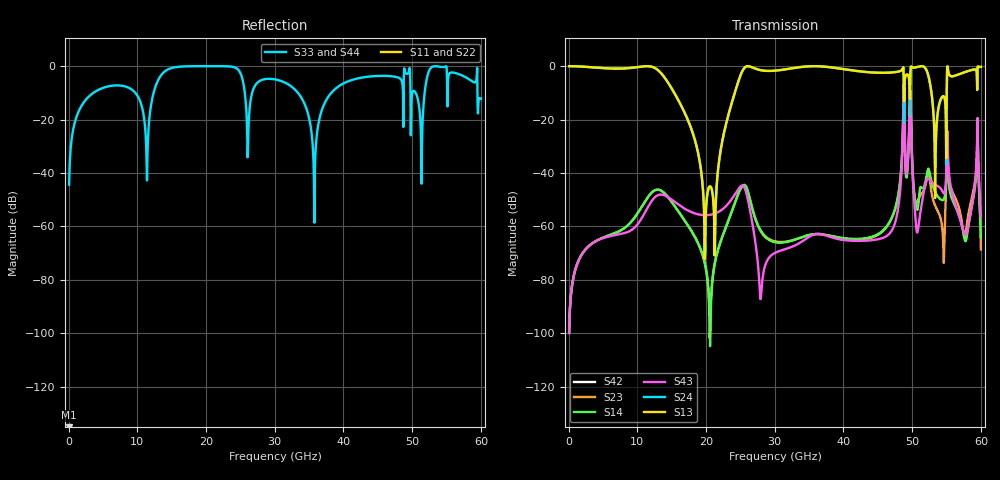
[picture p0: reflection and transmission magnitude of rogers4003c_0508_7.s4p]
! TOUCHSTONE file generated by CST MICROWAVE STUDIO
! Date and time: Wed Apr 16 11:32:53 2025
! Project name: LOSSLESS_rogers4003c_air_gapped_wideband_balanced.cst
! Parameters = {h=4; lambda=10; period=5; phi=0; theta=0; thickness=0.508; w_mesh_1=2; w_mesh_2=2; w_patch_1=1.6; w_patch_2=1.6}
! Header version: 2018
! Port assignment regex: !\s*Touchstone port\s*([0-9]+)\s*=\s*(CST MWS port|CST DS port)\s*([0-9]+|Zmin|Zmax)\s*\(\"(.*)\"\)(\s*mode\s*([0-9]+))?.*
! Touchstone port assignment:
! Touchstone port 1 = CST MWS port Zmin ("") mode 1
! Touchstone port 2 = CST MWS port Zmin ("") mode 2
! Touchstone port 3 = CST MWS port Zmax ("") mode 1
! Touchstone port 4 = CST MWS port Zmax ("") mode 2
! S-Parameters are not renormalized. Unphysical impedance of 50 will be written to the file.
# GHz S RI R 50
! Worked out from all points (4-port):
!   1003 points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, 60 MHz to 60 GHz, reference per port
!   strongest paths, dB at 60 MHz, 15 GHz, 30 GHz, 45 GHz, 60 GHz:
!     S13: 0.0, -8.4, -1.7, -2.5, -0.3
!     S24: 0.0, -8.4, -1.7, -2.4, -0.3
!     S43: -99.9, -50.0, -70.0, -64.8, -56.4
!     S14: -99.9, -50.8, -65.9, -62.9, -64.0
!     S23: -99.9, -50.9, -65.6, -63.2, -68.7
!     S42: -, -, -, -, -
!   lowest |S11| = - dB at 60 MHz (marker M1), VSWR 1.00
!   |S11| at or under -10 dB: start of sweep to end of sweep
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0.06  0 0  0 0  1 -0.00603  -5.77e-07 -1.01e-05
      0 0  0 0  -5.69e-07 -1.01e-05  1 -0.00603
      0 0  0 0  4.84e-06 -0.00605  -4.49e-08 -9.92e-06
      0 0  0 0  -1.07e-07 -1.02e-05  6.9e-06 -0.00604
13.38  0 0  0 0  -0.3293 -0.6784  -0.00247 0.00405
       0 0  0 0  -0.00246 0.00403  -0.3275 -0.6815
       0 0  0 0  0.5874 -0.2937  0.00156 -0.00361
       0 0  0 0  0.00156 -0.00362  0.5881 -0.2871
19.92  0 0  0 0  0.0014 0.000265  0.00018 3.28e-05
       0 0  0 0  0.000166 2.98e-05  0.00109 0.000211
       0 0  0 0  0.1832 -0.9831  -0.00159 -0.000304
       0 0  0 0  -0.00159 -0.000305  0.1899 -0.9818
25.8  0 0  0 0  -0.0996 0.9767  0.0054 0.00145
      0 0  0 0  0.00543 0.00152  -0.1182 0.9713
      0 0  0 0  -0.1873 -0.0322  0.00402 0.00191
      0 0  0 0  0.00382 0.00231  -0.2002 -0.0496
46.62  0 0  0 0  0.5453 -0.5243  -0.00089 -0.000734
       0 0  0 0  -0.000869 -0.000721  0.5456 -0.5245
       0 0  0 0  0.4522 0.4718  0.000656 -5.38e-05
       0 0  0 0  0.00064 -0.00032  0.4515 0.4728
49.68  0 0  0 0  0.1967 0.1371  0.1295 0.2575
       0 0  0 0  0.142 0.2848  0.086 -0.0821
       0 0  0 0  0.768 -0.4054  -0.126 -0.267
       0 0  0 0  -0.1259 -0.2672  0.8835 -0.1886
60  0 0  0 0  0.745 -0.6208  -0.000209 0.000592
    0 0  0 0  0.000332 0.000162  0.7478 -0.6162
    0 0  0 0  0.1589 0.1852  -0.000462 0.00142
    0 0  0 0  -0.000469 0.00143  0.1613 0.1875
